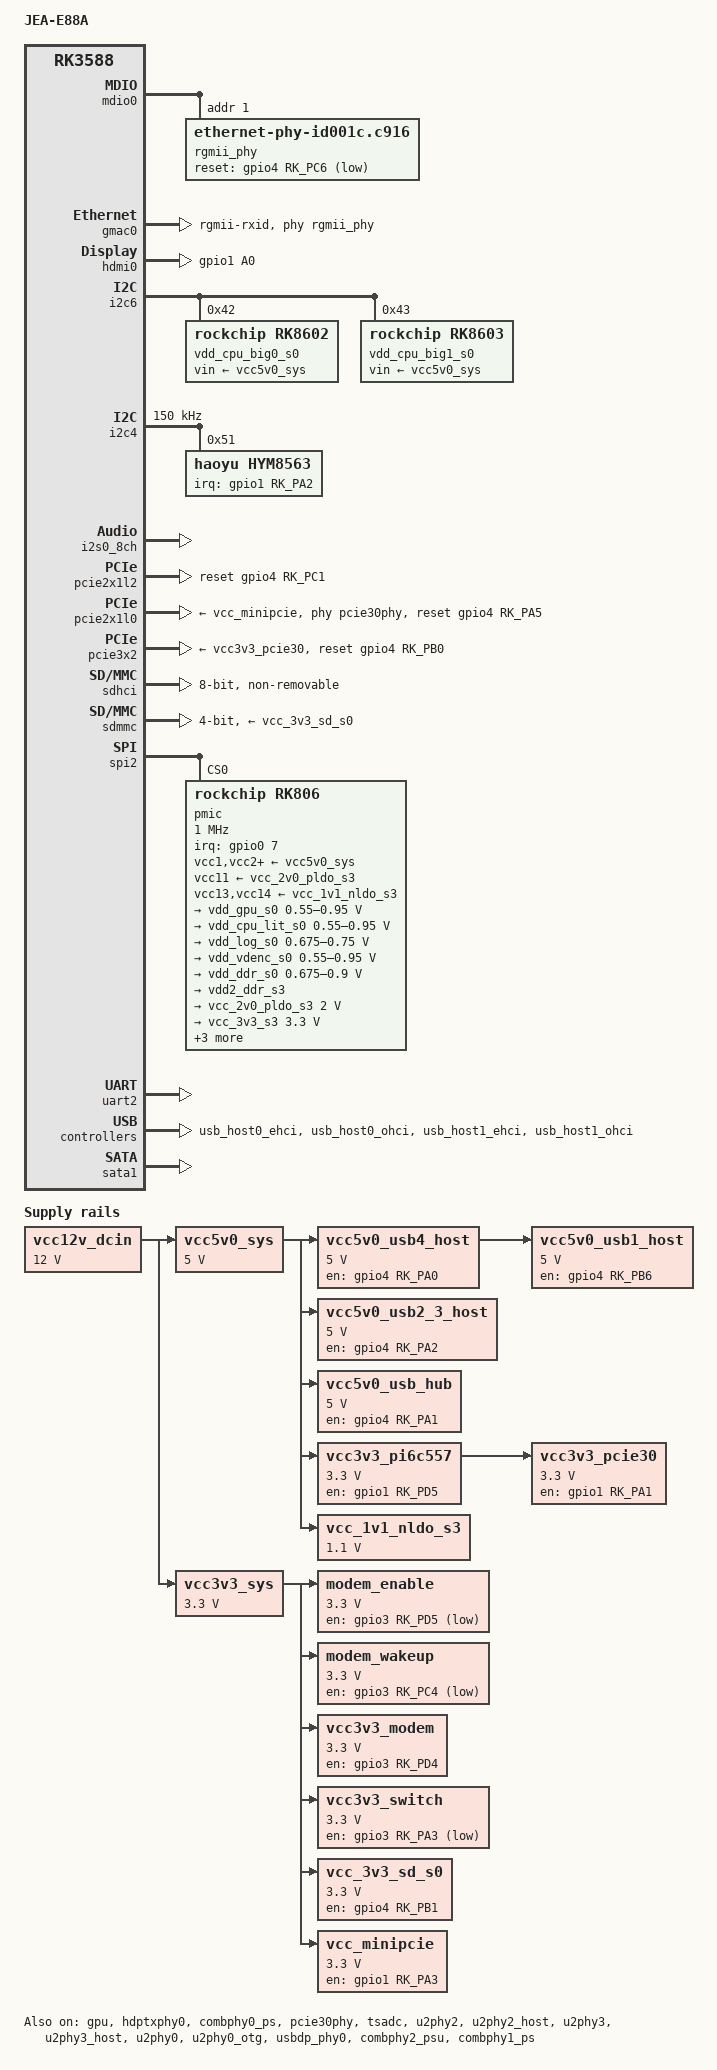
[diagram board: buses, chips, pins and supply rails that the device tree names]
// SPDX-License-Identifier: (GPL-2.0+ OR MIT)

/dts-v1/;

#include <dt-bindings/gpio/gpio.h>
#include <dt-bindings/leds/common.h>
#ifdef DTS_NO_LEGACY
#include <dt-bindings/soc/rockchip,vop2.h>
#else
#include <dt-bindings/display/rockchip_vop.h>
#endif
#include "rk3588.dtsi"

/ {
	model = "JEA-E88A";
	compatible = "jwipc,jea-e88a", "rockchip,rk3588";

	aliases {
		mmc0 = &sdhci;
		mmc1 = &sdmmc;
	};

	chosen {
		stdout-path = "serial2:1500000n8";
	}; 

	vcc12v_dcin: vcc12v-dcin {
		compatible = "regulator-fixed";
		regulator-always-on;
		regulator-boot-on;
		regulator-min-microvolt = <12000000>;
		regulator-max-microvolt = <12000000>;
		regulator-name = "vcc12v_dcin";
	};

	vcc5v0_sys: vcc5v0-sys-regulator {
		compatible = "regulator-fixed";
		regulator-name = "vcc5v0_sys";
		regulator-always-on;
		regulator-boot-on;
		regulator-min-microvolt = <5000000>;
		regulator-max-microvolt = <5000000>;
		vin-supply = <&vcc12v_dcin>;
	};

	vcc5v0_usb4_host: vcc5v0-usb4-host {
		compatible = "regulator-fixed";
		regulator-always-on;
		regulator-boot-on;
		enable-active-high;
		gpio = <&gpio4 RK_PA0 GPIO_ACTIVE_HIGH>;
		pinctrl-names = "default";
		pinctrl-0 = <&usb4_pwr>;
		regulator-min-microvolt = <5000000>;
		regulator-max-microvolt = <5000000>;
		regulator-name = "vcc5v0_usb4_host";
		vin-supply = <&vcc5v0_sys>;
	};

	vcc5v0_usb1_host: vcc5v0-usb1-host {
		compatible = "regulator-fixed";
		enable-active-high;
		regulator-always-on;
		regulator-boot-on;
		gpio = <&gpio4 RK_PB6 GPIO_ACTIVE_HIGH>;
		pinctrl-names = "default";
		pinctrl-0 = <&usb1_pwr>;
		regulator-min-microvolt = <5000000>;
		regulator-max-microvolt = <5000000>;
		regulator-name = "vcc5v0_usb1_host";
		vin-supply = <&vcc5v0_usb4_host>;
	};

	vcc5v0_usb2_3_host: vcc5v0-usb2-3-host {
		compatible = "regulator-fixed";
		regulator-always-on;
		regulator-boot-on;
		enable-active-high;
		gpio = <&gpio4 RK_PA2 GPIO_ACTIVE_HIGH>;
		pinctrl-names = "default";
		pinctrl-0 = <&usb2_3_pwr>;
		regulator-min-microvolt = <5000000>;
		regulator-max-microvolt = <5000000>;
		regulator-name = "vcc5v0_usb2_3_host";
		vin-supply = <&vcc5v0_sys>;
	};


	vcc5v0_usb_hub: vcc5v0-usb-hub {
		compatible = "regulator-fixed";
		enable-active-high;
		regulator-always-on;
		regulator-boot-on;
		gpio = <&gpio4 RK_PA1 GPIO_ACTIVE_HIGH>;
		pinctrl-names = "default";
		pinctrl-0 = <&gl3523_rst>;
		regulator-min-microvolt = <5000000>;
		regulator-max-microvolt = <5000000>;
		regulator-name = "vcc5v0_usb_hub";
		vin-supply = <&vcc5v0_sys>;
	};

	vcc3v3_sys: vcc3v3-sys {
		compatible = "regulator-fixed";
		regulator-name = "vcc3v3_sys";
		regulator-always-on;
		regulator-boot-on;
		regulator-min-microvolt = <3300000>;
		regulator-max-microvolt = <3300000>;
		vin-supply = <&vcc12v_dcin>;
	};

	modem_enable: modem-enable {
		compatible = "regulator-fixed";
		enable-active-low;
		regulator-always-on;
		regulator-boot-on;
		gpios = <&gpio3 RK_PD5 GPIO_ACTIVE_LOW>;
		regulator-min-microvolt = <3300000>;
		regulator-max-microvolt = <3300000>;
		regulator-name = "modem-enable";
		vin-supply = <&vcc3v3_sys>;
		startup-delay-us = <500000>;
		pinctrl-names = "default";
		pintctrl-0 = <&modem_reset_en>;
	};

	modem_wakeup: modem-wakeup {
		compatible = "regulator-fixed";
		enable-active-low;
		regulator-always-on;
		regulator-boot-on;
		gpios = <&gpio3 RK_PC4 GPIO_ACTIVE_LOW>;
		regulator-min-microvolt = <3300000>;
		regulator-max-microvolt = <3300000>;
		regulator-name = "modem-wakeup";
		vin-supply = <&vcc3v3_sys>;
		pinctrl-names = "default";
		pintctrl-0 = <&modem_wakeup_en>;
	};

	vcc3v3_modem: vcc3v3-modem {
		compatible = "regulator-fixed";
		enable-active-high;
		regulator-always-on;
		regulator-boot-on;
		gpios = <&gpio3 RK_PD4 GPIO_ACTIVE_HIGH>;
		regulator-min-microvolt = <3300000>;
		regulator-max-microvolt = <3300000>;
		regulator-name = "vcc3v3_modem";
		pinctrl-names = "default";
		pintctrl-0 = <&modem_power_en>;
		vin-supply = <&vcc3v3_sys>;
	};

	vcc3v3_switch: vcc3v3-switch {
		compatible = "regulator-fixed";
		regulator-name = "switch";
		regulator-always-on;
		regulator-boot-on;
		enable-active-low;
		gpio = <&gpio3 RK_PA3 GPIO_ACTIVE_LOW>;
		pinctrl-names = "default";
		pinctrl-0 = <&rtl8367_rst>;
		regulator-min-microvolt = <3300000>;
		regulator-max-microvolt = <3300000>;
		vin-supply = <&vcc3v3_sys>;
	};

	vcc_3v3_sd_s0: vcc-3v3-sd-s0-regulator {
		compatible = "regulator-fixed";
		regulator-name = "vcc_3v3_sd_s0";
		regulator-min-microvolt = <3300000>;
		regulator-max-microvolt = <3300000>;
		enable-active-high;
		gpio = <&gpio4 RK_PB1 GPIO_ACTIVE_HIGH>;
		pinctrl-names = "default";
		pinctrl-0 = <&sd_s0_pwr>;
		vin-supply = <&vcc3v3_sys>;
	};

	vcc3v3_pi6c557: vcc3v3-pi6c557 {
		compatible = "regulator-fixed";
		regulator-name = "vcc3v3_pi6c557";
		regulator-min-microvolt = <3300000>;
		regulator-max-microvolt = <3300000>;
		regulator-always-on;
		regulator-boot-on;
		enable-active-high;
		gpio = <&gpio1 RK_PD5 GPIO_ACTIVE_HIGH>;
		startup-delay-us = <5000>;
		vin-supply = <&vcc5v0_sys>;
	};

	vcc3v3_pcie30: vcc3v3-pcie30 {
		compatible = "regulator-fixed";
		regulator-name = "vcc3v3_pcie30";
		regulator-min-microvolt = <3300000>;
		regulator-max-microvolt = <3300000>;
		enable-active-high;
		gpio = <&gpio1 RK_PA1 GPIO_ACTIVE_HIGH>;
		startup-delay-us = <5000>;
		vin-supply = <&vcc3v3_pi6c557>;
	};

	vcc_minipcie: vcc-minipcie {
		compatible = "regulator-fixed";
		regulator-name = "vcc_minipcie";
		regulator-min-microvolt = <3300000>;
		regulator-max-microvolt = <3300000>;
		enable-active-high;
		gpio = <&gpio1 RK_PA3 GPIO_ACTIVE_HIGH>;
		startup-delay-us = <5000>;
		vin-supply = <&vcc3v3_sys>;
	};

	vcc_1v1_nldo_s3: regulator-vcc-1v1-nldo-s3 {
		compatible = "regulator-fixed";
		regulator-name = "vcc_1v1_nldo_s3";
		regulator-always-on;
		regulator-boot-on;
		regulator-min-microvolt = <1100000>;
		regulator-max-microvolt = <1100000>;
		vin-supply = <&vcc5v0_sys>;
	};
};

&cpu_b0 {
	cpu-supply = <&vdd_cpu_big0_s0>;
};

&cpu_b1 {
	cpu-supply = <&vdd_cpu_big0_s0>;
};

&cpu_b2 {
	cpu-supply = <&vdd_cpu_big1_s0>;
};

&cpu_b3 {
	cpu-supply = <&vdd_cpu_big1_s0>;
};

&cpu_l0 {
	cpu-supply = <&vdd_cpu_lit_s0>;
};

&cpu_l1 {
	cpu-supply = <&vdd_cpu_lit_s0>;
};

&cpu_l2 {
	cpu-supply = <&vdd_cpu_lit_s0>;
};

&cpu_l3 {
	cpu-supply = <&vdd_cpu_lit_s0>;
};

&mdio0 {
	rgmii_phy: ethernet-phy@1 {
		compatible = "ethernet-phy-id001c.c916";
		reg = <0x1>;
		pinctrl-0 = <&rtl8211f_rst>;
		reset-assert-us = <20000>;
		reset-deassert-us = <100000>;
		reset-gpios = <&gpio4 RK_PC6 GPIO_ACTIVE_LOW>;
	};
};

&gmac0 {
	clock_in_out = "output";
	phy-handle = <&rgmii_phy>;
	phy-mode = "rgmii-rxid";
	pinctrl-0 = <&gmac0_miim
	&gmac0_tx_bus2
	&gmac0_rx_bus2
	&gmac0_rgmii_clk
	&gmac0_rgmii_bus>;
	pinctrl-names = "default";
	rx_delay = <0x00>;
	tx_delay = <0x43>;
	status = "okay";
};

&gpu {
	mali-supply = <&vdd_gpu_s0>;
	status = "okay";
};

&hdmi0 {
	status = "okay";
	pinctrl-0 = <&hdmi_pwren_gpio &hdmim0_tx0_hpd &hdmim2_tx0_scl &hdmim2_tx0_sda>;
	enable-gpios = <&gpio3 RK_PD3 GPIO_ACTIVE_HIGH>;
};

&hdptxphy0 {
	status = "okay";
};

&i2c6 {
	status = "okay";

	vdd_cpu_big0_s0: regulator@42 {
		compatible = "rockchip,rk8602";
		reg = <0x42>;
		fcs,suspend-voltage-selector = <1>;
		regulator-name = "vdd_cpu_big0_s0";
		regulator-always-on;
		regulator-boot-on;
		regulator-min-microvolt = <550000>;
		regulator-max-microvolt = <1050000>;
		regulator-ramp-delay = <2300>;
		vin-supply = <&vcc5v0_sys>;

		regulator-state-mem {
			regulator-off-in-suspend;
		};
	};

	vdd_cpu_big1_s0: regulator@43 {
		compatible = "rockchip,rk8603", "rockchip,rk8602";
		reg = <0x43>;
		fcs,suspend-voltage-selector = <1>;
		regulator-name = "vdd_cpu_big1_s0";
		regulator-always-on;
		regulator-boot-on;
		regulator-min-microvolt = <550000>;
		regulator-max-microvolt = <1050000>;
		regulator-ramp-delay = <2300>;
		vin-supply = <&vcc5v0_sys>;

		regulator-state-mem {
			regulator-off-in-suspend;
		};
	};
};

&i2c4 {
	clock-frequency = <150000>;
	status = "okay";

	hym8563: rtc@51 {
		compatible = "haoyu,hym8563";
		reg = <0x51>;
		#clock-cells = <0>;
		clock-output-names = "hym8563";
		pinctrl-names = "default";
		pinctrl-0 = <&hym8563_int>;
		interrupt-parent = <&gpio1>;
		interrupts = <RK_PA2 IRQ_TYPE_LEVEL_LOW>;
		wakeup-source;
	};
};

&i2s0_8ch {
	pinctrl-names = "default";
	pinctrl-0 = <&i2s0_lrck
	&i2s0_mclk
	&i2s0_sclk
	&i2s0_sdi0
	&i2s0_sdo0>;
	status = "okay";
};

&combphy0_ps {
	status = "okay";
};

&pcie2x1l2 {
	reset-gpios = <&gpio4 RK_PC1 GPIO_ACTIVE_HIGH>;
	status = "okay";
};

&pcie2x1l0 {
	reset-gpios = <&gpio4 RK_PA5 GPIO_ACTIVE_HIGH>;
	phys = <&pcie30phy>;
	vpcie3v3-supply = <&vcc_minipcie>;
	status = "okay";
};

&pcie30phy {
	data-lanes = <2 2 3>;
	status = "okay";
};

&pcie3x2 {
	reset-gpios = <&gpio4 RK_PB0 GPIO_ACTIVE_HIGH>;
	vpcie3v3-supply = <&vcc3v3_pcie30>;
	status = "okay";
};

&pinctrl {
	hym8563 {
		hym8563_int: hym8563-int {
			rockchip,pins = <1 RK_PA2 RK_FUNC_GPIO &pcfg_pull_up>;
		};
	};

	sound {
		hp_detect: hp-detect {
			rockchip,pins = <1 RK_PD3 RK_FUNC_GPIO &pcfg_pull_none>;
		};
	};

	sdmmc {
		sd_s0_pwr: sd-s0-pwr {
			rockchip,pins = <4 RK_PB1 RK_FUNC_GPIO &pcfg_pull_up>;
		};
	};

	usb {
		usb1_pwr: usb1-pwr {
			rockchip,pins = <4 RK_PB6 RK_FUNC_GPIO &pcfg_pull_up>;
		};

		usb2_3_pwr: usb2-3-pwr {
			rockchip,pins = <4 RK_PA2 RK_FUNC_GPIO &pcfg_pull_up>;
		};

		usb4_pwr: usb4-pwr {
			rockchip,pins = <4 RK_PA0 RK_FUNC_GPIO &pcfg_pull_up>;
		};

		gl3523_rst: gl3523-rst {
			rockchip,pins = <4 RK_PA1 RK_FUNC_GPIO &pcfg_pull_up>;
		};
	};

	modem {
		modem_reset_en: modem-reset-en {
			rockchip,pins = <3 RK_PD5 RK_FUNC_GPIO &pcfg_pull_none>;
		};

		modem_wakeup_en: modem-wakeup-en {
			rockchip,pins = <3 RK_PC4 RK_FUNC_GPIO &pcfg_pull_none>;
		};

		modem_power_en: modem-power-en {
			rockchip,pins = <3 RK_PD4 RK_FUNC_GPIO &pcfg_pull_none>;
		};
	};

	rtl8211f {
		rtl8211f_rst: rtl8211f-rst {
			rockchip,pins = <4 RK_PC0 RK_FUNC_GPIO &pcfg_pull_none>;
		};
	};

	rtl8367 {
		rtl8367_rst: rtl8367-rst {
			rockchip,pins = <3 RK_PA3 RK_FUNC_GPIO &pcfg_pull_up>;
		};
	};

	hdmi0 {
		hdmi_pwren_gpio: hdmi-pwren-gpio {
			rockchip,pins = <1 RK_PA0 RK_FUNC_GPIO &pcfg_pull_up>;
		};
	};
};

&sdhci {
	bus-width = <8>;
	max-frequency = <200000000>;
	mmc-hs400-1_8v;
	mmc-hs400-enhanced-strobe;
	no-sdio;
	no-sd;
	non-removable;
	status = "okay";
};

&sdmmc {
	max-frequency = <150000000>;
	no-sdio;
	no-mmc;
	bus-width = <4>;
	cap-mmc-highspeed;
	cap-sd-highspeed;
	disable-wp;
	sd-uhs-sdr104;
	vmmc-supply = <&vcc_3v3_sd_s0>;
	vqmmc-supply = <&vccio_sd_s0>;
	status = "okay";
};

&spi2 {
	status = "okay";
	assigned-clocks = <&cru CLK_SPI2>;
	assigned-clock-rates = <200000000>;
	pinctrl-names = "default";
	pinctrl-0 = <&spi2m2_cs0 &spi2m2_pins>;
	num-cs = <1>;

	pmic@0 {
		compatible = "rockchip,rk806";
		spi-max-frequency = <1000000>;
		reg = <0x0>;

		interrupt-parent = <&gpio0>;
		interrupts = <7 IRQ_TYPE_LEVEL_LOW>;

		pinctrl-names = "default";
		pinctrl-0 = <&pmic_pins>, <&rk806_dvs1_null>,
		<&rk806_dvs2_null>, <&rk806_dvs3_null>;

		system-power-controller;

		vcc1-supply = <&vcc5v0_sys>;
		vcc2-supply = <&vcc5v0_sys>;
		vcc3-supply = <&vcc5v0_sys>;
		vcc4-supply = <&vcc5v0_sys>;
		vcc5-supply = <&vcc5v0_sys>;
		vcc6-supply = <&vcc5v0_sys>;
		vcc7-supply = <&vcc5v0_sys>;
		vcc8-supply = <&vcc5v0_sys>;
		vcc9-supply = <&vcc5v0_sys>;
		vcc10-supply = <&vcc5v0_sys>;
		vcc11-supply = <&vcc_2v0_pldo_s3>;
		vcc12-supply = <&vcc5v0_sys>;
		vcc13-supply = <&vcc_1v1_nldo_s3>;
		vcc14-supply = <&vcc_1v1_nldo_s3>;
		vcca-supply = <&vcc5v0_sys>;

		gpio-controller;
		#gpio-cells = <2>;

		rk806_dvs1_null: dvs1-null-pins {
			pins = "gpio_pwrctrl1";
			function = "pin_fun0";
		};

		rk806_dvs2_null: dvs2-null-pins {
			pins = "gpio_pwrctrl2";
			function = "pin_fun0";
		};

		rk806_dvs3_null: dvs3-null-pins {
			pins = "gpio_pwrctrl3";
			function = "pin_fun0";
		};

		regulators {
			vdd_gpu_s0: vdd_gpu_mem_s0: dcdc-reg1 {
				regulator-always-on;
				regulator-boot-on;
				regulator-min-microvolt = <550000>;
				regulator-max-microvolt = <950000>;
				regulator-ramp-delay = <12500>;
				regulator-name = "vdd_gpu_s0";
				regulator-enable-ramp-delay = <400>;

				regulator-state-mem {
					regulator-off-in-suspend;
				};
			};

			vdd_cpu_lit_s0: vdd_cpu_lit_mem_s0: dcdc-reg2 {
				regulator-always-on;
				regulator-boot-on;
				regulator-min-microvolt = <550000>;
				regulator-max-microvolt = <950000>;
				regulator-ramp-delay = <12500>;
				regulator-name = "vdd_cpu_lit_s0";

				regulator-state-mem {
					regulator-off-in-suspend;
				};
			};

			vdd_log_s0: dcdc-reg3 {
				regulator-always-on;
				regulator-boot-on;
				regulator-min-microvolt = <675000>;
				regulator-max-microvolt = <750000>;
				regulator-ramp-delay = <12500>;
				regulator-name = "vdd_log_s0";

				regulator-state-mem {
					regulator-off-in-suspend;
					regulator-suspend-microvolt = <750000>;
				};
			};

			vdd_vdenc_s0: vdd_vdenc_mem_s0: dcdc-reg4 {
				regulator-always-on;
				regulator-boot-on;
				regulator-min-microvolt = <550000>;
				regulator-max-microvolt = <950000>;
				regulator-ramp-delay = <12500>;
				regulator-name = "vdd_vdenc_s0";

				regulator-state-mem {
					regulator-off-in-suspend;
				};
			};

			vdd_ddr_s0: dcdc-reg5 {
				regulator-always-on;
				regulator-boot-on;
				regulator-min-microvolt = <675000>;
				regulator-max-microvolt = <900000>;
				regulator-ramp-delay = <12500>;
				regulator-name = "vdd_ddr_s0";

				regulator-state-mem {
					regulator-off-in-suspend;
					regulator-suspend-microvolt = <850000>;
				};
			};

			vdd2_ddr_s3: dcdc-reg6 {
				regulator-always-on;
				regulator-boot-on;
				regulator-name = "vdd2_ddr_s3";

				regulator-state-mem {
					regulator-on-in-suspend;
				};
			};

			vcc_2v0_pldo_s3: dcdc-reg7 {
				regulator-always-on;
				regulator-boot-on;
				regulator-min-microvolt = <2000000>;
				regulator-max-microvolt = <2000000>;
				regulator-ramp-delay = <12500>;
				regulator-name = "vdd_2v0_pldo_s3";

				regulator-state-mem {
					regulator-on-in-suspend;
					regulator-suspend-microvolt = <2000000>;
				};
			};

			vcc_3v3_s3: dcdc-reg8 {
				regulator-always-on;
				regulator-boot-on;
				regulator-min-microvolt = <3300000>;
				regulator-max-microvolt = <3300000>;
				regulator-name = "vcc_3v3_s3";

				regulator-state-mem {
					regulator-on-in-suspend;
					regulator-suspend-microvolt = <3300000>;
				};
			};

			vddq_ddr_s0: dcdc-reg9 {
				regulator-always-on;
				regulator-boot-on;
				regulator-name = "vddq_ddr_s0";

				regulator-state-mem {
					regulator-off-in-suspend;
				};
			};

			vcc_1v8_s3: dcdc-reg10 {
				regulator-always-on;
				regulator-boot-on;
				regulator-min-microvolt = <1800000>;
				regulator-max-microvolt = <1800000>;
				regulator-name = "vcc_1v8_s3";

				regulator-state-mem {
					regulator-on-in-suspend;
					regulator-suspend-microvolt = <1800000>;
				};
			};

			avcc_1v8_s0: pldo-reg1 {
				regulator-always-on;
				regulator-boot-on;
				regulator-min-microvolt = <1800000>;
				regulator-max-microvolt = <1800000>;
				regulator-name = "avcc_1v8_s0";

				regulator-state-mem {
					regulator-off-in-suspend;
				};
			};

			vcc_1v8_s0: pldo-reg2 {
				regulator-always-on;
				regulator-boot-on;
				regulator-min-microvolt = <1800000>;
				regulator-max-microvolt = <1800000>;
				regulator-name = "vcc_1v8_s0";

				regulator-state-mem {
					regulator-off-in-suspend;
					regulator-suspend-microvolt = <1800000>;
				};
			};

			avdd_1v2_s0: pldo-reg3 {
				regulator-always-on;
				regulator-boot-on;
				regulator-min-microvolt = <1200000>;
				regulator-max-microvolt = <1200000>;
				regulator-name = "avdd_1v2_s0";

				regulator-state-mem {
					regulator-off-in-suspend;
				};
			};

			vcc_3v3_s0: pldo-reg4 {
				regulator-always-on;
				regulator-boot-on;
				regulator-min-microvolt = <3300000>;
				regulator-max-microvolt = <3300000>;
				regulator-ramp-delay = <12500>;
				regulator-name = "vcc_3v3_s0";

				regulator-state-mem {
					regulator-off-in-suspend;
				};
			};

			vccio_sd_s0: pldo-reg5 {
				regulator-always-on;
				regulator-boot-on;
				regulator-min-microvolt = <1800000>;
				regulator-max-microvolt = <3300000>;
				regulator-ramp-delay = <12500>;
				regulator-name = "vccio_sd_s0";

				regulator-state-mem {
					regulator-off-in-suspend;
				};
			};

			pldo6_s3: pldo-reg6 {
				regulator-always-on;
				regulator-boot-on;
				regulator-min-microvolt = <1800000>;
				regulator-max-microvolt = <1800000>;
				regulator-name = "pldo6_s3";

				regulator-state-mem {
					regulator-on-in-suspend;
					regulator-suspend-microvolt = <1800000>;
				};
			};

			vdd_0v75_s3: nldo-reg1 {
				regulator-always-on;
				regulator-boot-on;
				regulator-min-microvolt = <750000>;
				regulator-max-microvolt = <750000>;
				regulator-name = "vdd_0v75_s3";

				regulator-state-mem {
					regulator-on-in-suspend;
					regulator-suspend-microvolt = <750000>;
				};
			};

			vdd_ddr_pll_s0: nldo-reg2 {
				regulator-always-on;
				regulator-boot-on;
				regulator-min-microvolt = <850000>;
				regulator-max-microvolt = <850000>;
				regulator-name = "vdd_ddr_pll_s0";

				regulator-state-mem {
					regulator-off-in-suspend;
					regulator-suspend-microvolt = <850000>;
				};
			};

			avdd_0v75_s0: nldo-reg3 {
				regulator-always-on;
				regulator-boot-on;
				regulator-min-microvolt = <750000>;
				regulator-max-microvolt = <750000>;
				regulator-name = "avdd_0v75_s0";

				regulator-state-mem {
					regulator-off-in-suspend;
				};
			};

			vdd_0v85_s0: nldo-reg4 {
				regulator-always-on;
				regulator-boot-on;
				regulator-min-microvolt = <850000>;
				regulator-max-microvolt = <850000>;
				regulator-name = "vdd_0v85_s0";

				regulator-state-mem {
					regulator-off-in-suspend;
				};
			};

			vdd_0v75_s0: nldo-reg5 {
				regulator-always-on;
				regulator-boot-on;
				regulator-min-microvolt = <750000>;
				regulator-max-microvolt = <750000>;
				regulator-name = "vdd_0v75_s0";

				regulator-state-mem {
					regulator-off-in-suspend;
				};
			};
		};
	};
};

&tsadc {
	status = "okay";
};

&uart2 {
	pinctrl-names = "default";
	pinctrl-0 = <&uart2m0_xfer>;
	status = "okay";
};

&u2phy2 {
	status = "okay";
};

&u2phy2_host {
	status = "okay";
};

&u2phy3 {
	status = "okay";
};

&u2phy3_host {
	status = "okay";
};

&usb_host0_ehci {
	status = "okay";
};

&usb_host0_ohci {
	status = "okay";
};

&usb_host1_ehci {
	status = "okay";
};

&usb_host1_ohci {
	status = "okay";
};

&u2phy0 {
	status = "okay";
};

&u2phy0_otg {
	status = "okay";
};

&usbdp_phy0 {
	rockchip,dp-lane-mux = < 0 1 2 3 >;
	status = "okay";
};

&combphy2_psu {
	status = "okay";
};

&combphy1_ps {
	status = "okay";
};

&sata1 {
	status = "okay";
};

